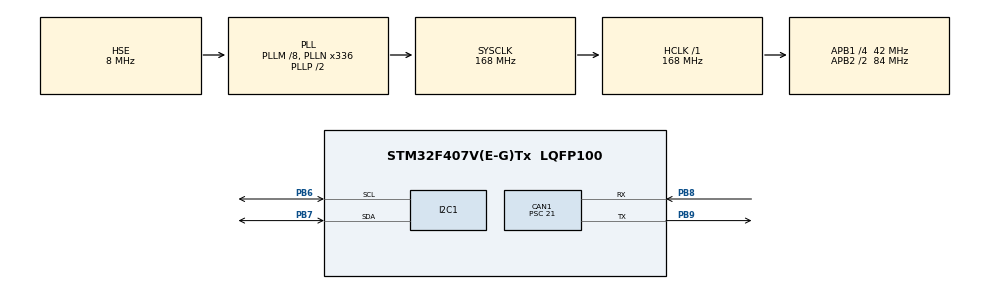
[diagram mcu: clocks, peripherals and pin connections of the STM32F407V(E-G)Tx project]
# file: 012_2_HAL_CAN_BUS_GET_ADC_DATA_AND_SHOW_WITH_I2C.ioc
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CAN1.BS1=CAN_BS1_12TQ
CAN1.BS2=CAN_BS2_4TQ
CAN1.CalculateBaudRate=117647
CAN1.CalculateTimeBit=8500
CAN1.CalculateTimeQuantum=500.0
CAN1.Prescaler=21
Mcu.Family=STM32F4
Mcu.Name=STM32F407V(E-G)Tx
Mcu.Package=LQFP100
NVIC.CAN1_RX0_IRQn=true\:0\:0\:false\:false\:true\:true\:true\:true
NVIC.PriorityGroup=NVIC_PRIORITYGROUP_0
PA13.Mode=Serial_Wire
PA13.Signal=SYS_JTMS-SWDIO
PA14.Mode=Serial_Wire
PA14.Signal=SYS_JTCK-SWCLK
PB6.Mode=I2C
PB6.Signal=I2C1_SCL
PB7.Mode=I2C
PB7.Signal=I2C1_SDA
PB8.Mode=CAN_Activate
PB8.Signal=CAN1_RX
PB9.Mode=CAN_Activate
PB9.Signal=CAN1_TX
PH0-OSC_IN.Mode=HSE-External-Oscillator
PH0-OSC_IN.Signal=RCC_OSC_IN
PH1-OSC_OUT.Mode=HSE-External-Oscillator
PH1-OSC_OUT.Signal=RCC_OSC_OUT
ProjectManager.HeapSize=0x200
ProjectManager.StackSize=0x400
ProjectManager.TargetToolchain=STM32CubeIDE
RCC.48MHZClocksFreq_Value=48000000
RCC.AHBFreq_Value=168000000
RCC.APB1CLKDivider=RCC_HCLK_DIV4
RCC.APB1Freq_Value=42000000
RCC.APB1TimFreq_Value=84000000
RCC.APB2CLKDivider=RCC_HCLK_DIV2
RCC.APB2Freq_Value=84000000
RCC.APB2TimFreq_Value=168000000
RCC.CortexFreq_Value=168000000
RCC.HCLKFreq_Value=168000000
RCC.HSE_VALUE=8000000
RCC.HSI_VALUE=16000000
RCC.PLLM=8
RCC.PLLN=336
RCC.PLLQ=7
RCC.PLLSourceVirtual=RCC_PLLSOURCE_HSE
RCC.SYSCLKFreq_VALUE=168000000
RCC.SYSCLKSource=RCC_SYSCLKSOURCE_PLLCLK
RCC.VCOOutputFreq_Value=336000000
board=STM32F407G-DISC1

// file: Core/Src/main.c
/* USER CODE BEGIN Header */
/**
  ******************************************************************************
  * @file           : main.c
  * @brief          : Main program body
  ******************************************************************************
  * @attention
  *
  * Copyright (c) 2024 STMicroelectronics.
  * All rights reserved.
  *
  * This software is licensed under terms that can be found in the LICENSE file
  * in the root directory of this software component.
  * If no LICENSE file comes with this software, it is provided AS-IS.
  *
  ******************************************************************************
  */
/* USER CODE END Header */
#include "main.h"

/* USER CODE BEGIN Includes */
#include "i2c-lcd.h"
/* USER CODE END Includes */

CAN_HandleTypeDef hcan1;

I2C_HandleTypeDef hi2c1;

void SystemClock_Config(void);
static void MX_GPIO_Init(void);
static void MX_I2C1_Init(void);
static void MX_CAN1_Init(void);

/* USER CODE BEGIN 0 */
CAN_RxHeaderTypeDef pRxHeader;
CAN_TxHeaderTypeDef pHeader;
CAN_FilterTypeDef sFilterConfig;
uint8_t rAdc_value;
/* USER CODE END 0 */

int main(void)
{

  /* MCU Configuration--------------------------------------------------------*/

  /* Reset of all peripherals, Initializes the Flash interface and the Systick. */
  HAL_Init();

  /* Configure the system clock */
  SystemClock_Config();

  /* Initialize all configured peripherals */
  MX_GPIO_Init();
  MX_I2C1_Init();
  MX_CAN1_Init();
  /* USER CODE BEGIN 2 */

  //Set Transmit parameters

	pHeader.DLC = 1;
	pHeader.IDE = CAN_ID_STD;
	pHeader.RTR = CAN_RTR_DATA;
	pHeader.StdId = 0x0156;

	// Set Filter Parameters

	sFilterConfig.FilterActivation = ENABLE;
	sFilterConfig.FilterBank = 0;
	sFilterConfig.FilterFIFOAssignment = CAN_FILTER_FIFO0;
	sFilterConfig.FilterIdHigh = 0x0000;
	sFilterConfig.FilterIdLow = 0x0000;
	sFilterConfig.FilterMaskIdHigh = 0x0000;
	sFilterConfig.FilterMaskIdLow = 0x0000;
	sFilterConfig.FilterMode = CAN_FILTERMODE_IDMASK;
	sFilterConfig.FilterScale = CAN_FILTERSCALE_16BIT;

  HAL_CAN_ConfigFilter(&hcan1, &sFilterConfig);

  HAL_CAN_Start(&hcan1);
  HAL_CAN_ActivateNotification(&hcan1, CAN_IT_RX_FIFO0_MSG_PENDING);

  lcd_init();

  lcd_send_string("CAN BUS ADC");
  /* USER CODE END 2 */

  /* Infinite loop */
  while (1)
  {

  }
}

void SystemClock_Config(void)
{
  RCC_OscInitTypeDef RCC_OscInitStruct = {0};
  RCC_ClkInitTypeDef RCC_ClkInitStruct = {0};

  /** Configure the main internal regulator output voltage
  */
  __HAL_RCC_PWR_CLK_ENABLE();
  __HAL_PWR_VOLTAGESCALING_CONFIG(PWR_REGULATOR_VOLTAGE_SCALE1);

  /** Initializes the RCC Oscillators according to the specified parameters
  * in the RCC_OscInitTypeDef structure.
  */
  RCC_OscInitStruct.OscillatorType = RCC_OSCILLATORTYPE_HSE;
  RCC_OscInitStruct.HSEState = RCC_HSE_ON;
  RCC_OscInitStruct.PLL.PLLState = RCC_PLL_ON;
  RCC_OscInitStruct.PLL.PLLSource = RCC_PLLSOURCE_HSE;
  RCC_OscInitStruct.PLL.PLLM = 8;
  RCC_OscInitStruct.PLL.PLLN = 336;
  RCC_OscInitStruct.PLL.PLLP = RCC_PLLP_DIV2;
  RCC_OscInitStruct.PLL.PLLQ = 7;
  if (HAL_RCC_OscConfig(&RCC_OscInitStruct) != HAL_OK)
  {
    Error_Handler();
  }

  /** Initializes the CPU, AHB and APB buses clocks
  */
  RCC_ClkInitStruct.ClockType = RCC_CLOCKTYPE_HCLK|RCC_CLOCKTYPE_SYSCLK
                              |RCC_CLOCKTYPE_PCLK1|RCC_CLOCKTYPE_PCLK2;
  RCC_ClkInitStruct.SYSCLKSource = RCC_SYSCLKSOURCE_PLLCLK;
  RCC_ClkInitStruct.AHBCLKDivider = RCC_SYSCLK_DIV1;
  RCC_ClkInitStruct.APB1CLKDivider = RCC_HCLK_DIV4;
  RCC_ClkInitStruct.APB2CLKDivider = RCC_HCLK_DIV2;

  if (HAL_RCC_ClockConfig(&RCC_ClkInitStruct, FLASH_LATENCY_5) != HAL_OK)
  {
    Error_Handler();
  }
}

static void MX_CAN1_Init(void)
{

  hcan1.Instance = CAN1;
  hcan1.Init.Prescaler = 21;
  hcan1.Init.Mode = CAN_MODE_NORMAL;
  hcan1.Init.SyncJumpWidth = CAN_SJW_1TQ;
  hcan1.Init.TimeSeg1 = CAN_BS1_12TQ;
  hcan1.Init.TimeSeg2 = CAN_BS2_4TQ;
  hcan1.Init.TimeTriggeredMode = DISABLE;
  hcan1.Init.AutoBusOff = DISABLE;
  hcan1.Init.AutoWakeUp = DISABLE;
  hcan1.Init.AutoRetransmission = DISABLE;
  hcan1.Init.ReceiveFifoLocked = DISABLE;
  hcan1.Init.TransmitFifoPriority = DISABLE;
  if (HAL_CAN_Init(&hcan1) != HAL_OK)
  {
    Error_Handler();
  }

}

static void MX_I2C1_Init(void)
{

  hi2c1.Instance = I2C1;
  hi2c1.Init.ClockSpeed = 100000;
  hi2c1.Init.DutyCycle = I2C_DUTYCYCLE_2;
  hi2c1.Init.OwnAddress1 = 0;
  hi2c1.Init.AddressingMode = I2C_ADDRESSINGMODE_7BIT;
  hi2c1.Init.DualAddressMode = I2C_DUALADDRESS_DISABLE;
  hi2c1.Init.OwnAddress2 = 0;
  hi2c1.Init.GeneralCallMode = I2C_GENERALCALL_DISABLE;
  hi2c1.Init.NoStretchMode = I2C_NOSTRETCH_DISABLE;
  if (HAL_I2C_Init(&hi2c1) != HAL_OK)
  {
    Error_Handler();
  }

}

static void MX_GPIO_Init(void)
{

  /* GPIO Ports Clock Enable */
  __HAL_RCC_GPIOH_CLK_ENABLE();
  __HAL_RCC_GPIOA_CLK_ENABLE();
  __HAL_RCC_GPIOB_CLK_ENABLE();

}

void Error_Handler(void)
{
  __disable_irq();
  while (1)
  {
  }
}
